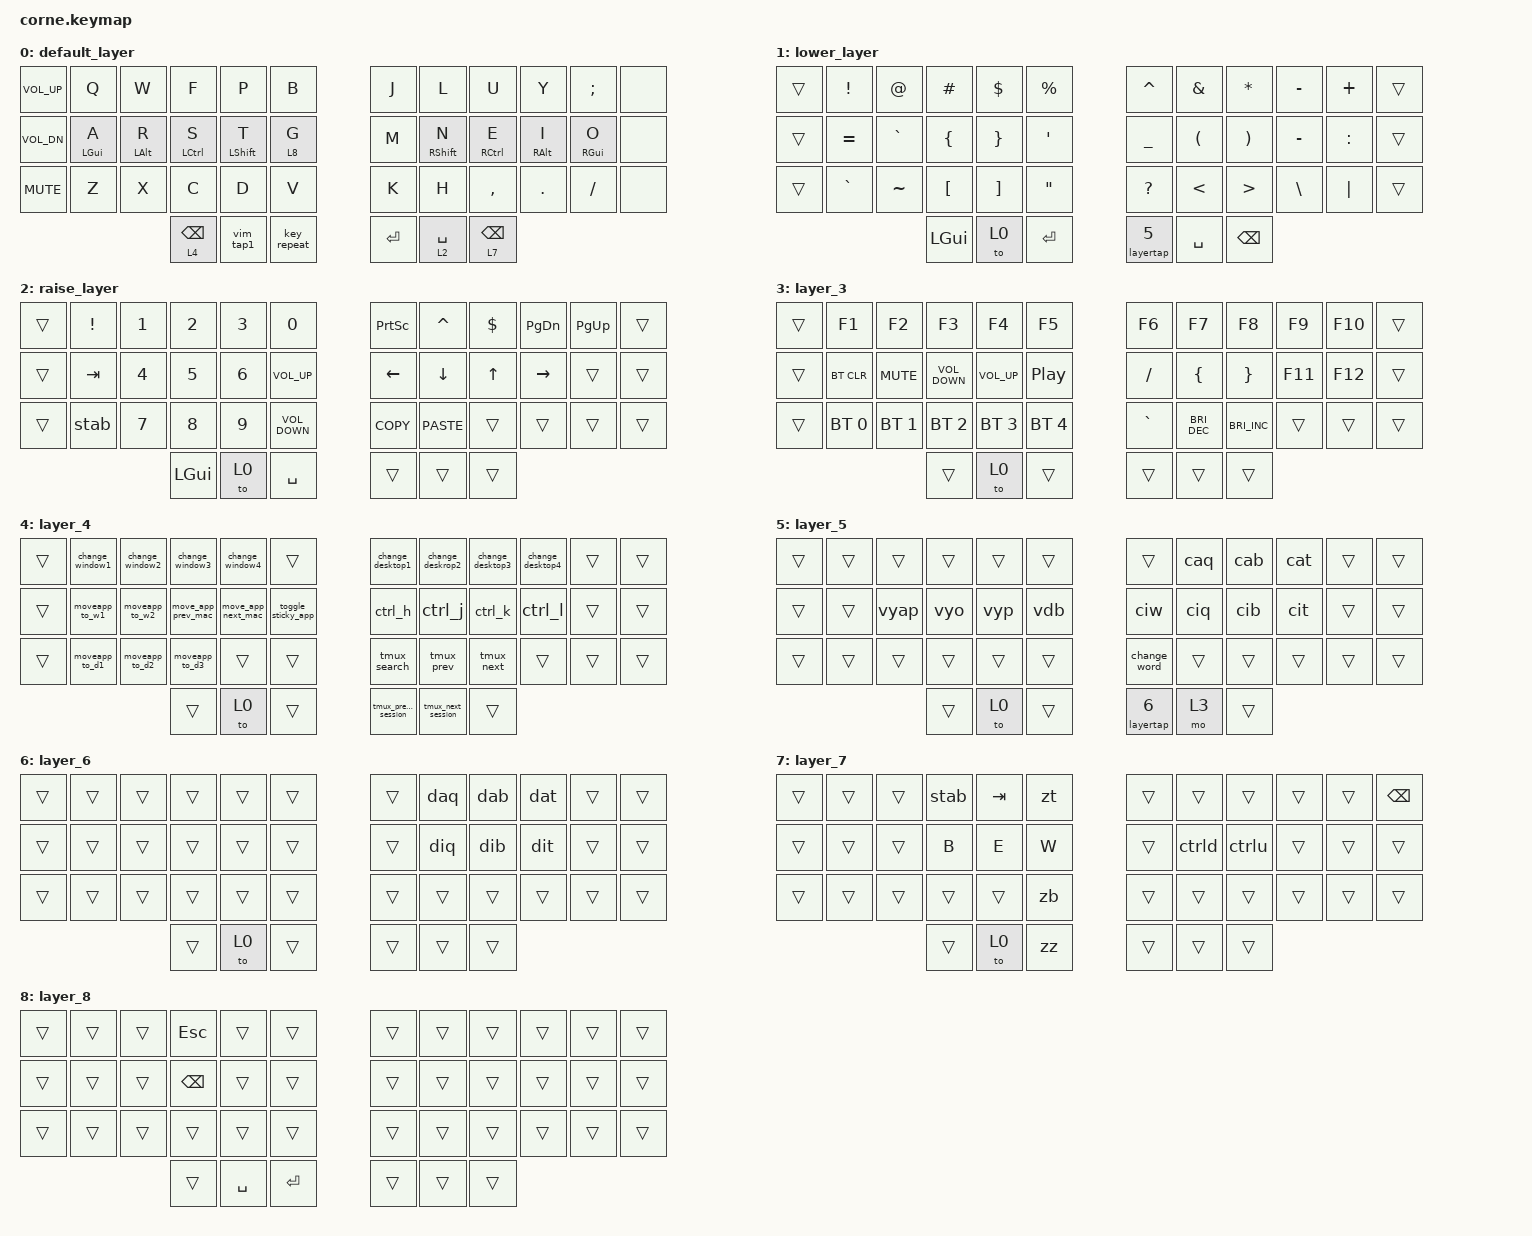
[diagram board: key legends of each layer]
/*
 * Copyright (c) 2020 The ZMK Contributors
 *
 * SPDX-License-Identifier: MIT
 */

#include <behaviors.dtsi>
#include <dt-bindings/zmk/bt.h>
#include <dt-bindings/zmk/keys.h>

/ {
    behaviors {
        shift: shift {
            compatible = "zmk,behavior-sticky-key";
            label = "SHIFT";
            bindings = <&kp>;
            #binding-cells = <1>;
            release-after-ms = <(-1)>;
            quick-release;
        };

        layertap: layertap {
            compatible = "zmk,behavior-sticky-key";
            label = "LAYERTAP";
            bindings = <&mo>;
            #binding-cells = <1>;
            release-after-ms = <(-1)>;
        };

        hmr: hmr {
            compatible = "zmk,behavior-hold-tap";
            label = "HMR";
            bindings = <&kp>, <&kp>;

            #binding-cells = <2>;
            tapping-term-ms = <200>;
            quick-tap-ms = <175>;
            flavor = "tap-preferred";
            hold-trigger-key-positions = <0 1 0 1 2 3 4 5 12 13 14 15 16 17 24 25 26 27 28 29 36 37 38 39 40 41>;
            hold-trigger-on-release;
        };

        hml: hml {
            compatible = "zmk,behavior-hold-tap";
            label = "HML";
            bindings = <&kp>, <&kp>;

            #binding-cells = <2>;
            tapping-term-ms = <200>;
            quick-tap-ms = <175>;
            flavor = "tap-preferred";
            hold-trigger-key-positions = <6 7 8 9 10 11 18 19 20 21 22 23 30 31 32 33 34 35 39 40 41 38 37 36>;
            hold-trigger-on-release;
        };

        hmr_shift: hmr_shift {
            compatible = "zmk,behavior-hold-tap";
            label = "HMR_SHIFT";
            bindings = <&kp>, <&kp>;

            #binding-cells = <2>;
            tapping-term-ms = <100>;
            hold-trigger-key-positions = <0 1 2 3 4 5 12 13 14 15 16 17 24 25 26 27 28 29 36 37 38 39 40 41>;
            hold-trigger-on-release;
            flavor = "balanced";
        };

        hml_shift: hml_shift {
            compatible = "zmk,behavior-hold-tap";
            label = "HML_SHIFT";
            bindings = <&kp>, <&kp>;

            #binding-cells = <2>;
            tapping-term-ms = <100>;
            flavor = "balanced";
            hold-trigger-on-release;
            hold-trigger-key-positions = <6 7 8 9 10 11 18 19 20 21 22 23 30 31 32 33 34 35 39 40 41 38 37 36>;
        };

        vim_tap1: vim_tap1 {
            compatible = "zmk,behavior-tap-dance";
            label = "VIM_TAP1";
            #binding-cells = <0>;
            bindings = <&layertap 1>;
        };

        vim_tap2: vim_tap2 {
            compatible = "zmk,behavior-tap-dance";
            label = "VIM_TAP2";
            #binding-cells = <0>;
            bindings = <&lt 2 SPACE>, <&layertap 7>;
        };

        right_thumb: right_thumb {
            compatible = "zmk,behavior-tap-dance";
            label = "RIGHT_THUMB";
            #binding-cells = <0>;
            bindings = <&kp LEFT_CONTROL>, <&shift LEFT_SHIFT>;
        };

        deletelayer7: deletelayer7 {
            compatible = "zmk,behavior-tap-dance";
            label = "DELETELAYER7";
            #binding-cells = <0>;
            bindings = <&lt 7 BACKSPACE>, <&kp BACKSPACE>;

            tapping-term-ms = <100>;
        };
    };

    combos {
        compatible = "zmk,combos";

        capsword {
            bindings = <&shift LEFT_SHIFT>;
            key-positions = <8 9>;
        };

        escape {
            bindings = <&kp ESCAPE>;
            key-positions = <20 21>;
        };

        semicolon {
            bindings = <&kp SEMICOLON>;
            key-positions = <8 7>;
        };

        capslock {
            bindings = <&caps_word>;
            key-positions = <2 9>;
        };

        bac {
            bindings = <&kp BACKSLASH>;
            key-positions = <31 32>;
        };

        k {
            bindings = <&kp K>;
            key-positions = <3 4>;
        };

        z {
            bindings = <&kp Z>;
            key-positions = <26 27>;
        };

        v {
            bindings = <&kp V>;
            key-positions = <27 28>;
        };

        tab {
            bindings = <&kp TAB>;
            key-positions = <14 16>;
        };
    };

    macros {
        change_window1: change_window1 {
            compatible = "zmk,behavior-macro";
            #binding-cells = <0>;
            bindings =
                <&macro_press>,
                <&kp LSHIFT &kp LEFT_ALT>,
                <&macro_tap>,
                <&kp Q>,
                <&macro_release>,
                <&kp LEFT_SHIFT &kp LEFT_ALT>;

            label = "change_window1";
        };

        change_window2: change_window2 {
            compatible = "zmk,behavior-macro";
            #binding-cells = <0>;
            bindings =
                <&macro_press>,
                <&kp LSHIFT &kp LEFT_ALT>,
                <&macro_tap>,
                <&kp W>,
                <&macro_release>,
                <&kp LEFT_SHIFT &kp LEFT_ALT>;

            label = "CHANGE_WINDOW2";
        };

        change_window3: change_window3 {
            compatible = "zmk,behavior-macro";
            #binding-cells = <0>;
            bindings =
                <&macro_press>,
                <&kp LSHIFT &kp LEFT_ALT>,
                <&macro_tap>,
                <&kp E>,
                <&macro_release>,
                <&kp LEFT_SHIFT &kp LEFT_ALT>;

            label = "CHANGE_WINDOW3";
        };

        change_window4: change_window4 {
            compatible = "zmk,behavior-macro";
            #binding-cells = <0>;
            bindings =
                <&macro_press>,
                <&kp LSHIFT &kp LEFT_ALT>,
                <&macro_tap>,
                <&kp R>,
                <&macro_release>,
                <&kp LEFT_SHIFT &kp LEFT_ALT>;

            label = "CHANGE_WINDOW4";
        };

        change_desktop1: change_desktop1 {
            compatible = "zmk,behavior-macro";
            #binding-cells = <0>;
            bindings =
                <&macro_press>,
                <&kp LSHIFT &kp LEFT_ALT>,
                <&macro_tap>,
                <&kp NUMBER_1>,
                <&macro_release>,
                <&kp LEFT_SHIFT &kp LEFT_ALT>;

            label = "CHANGE_DESKTOP1";
        };

        change_deskrop2: change_deskrop2 {
            compatible = "zmk,behavior-macro";
            #binding-cells = <0>;
            bindings =
                <&macro_press>,
                <&kp LSHIFT &kp LEFT_ALT>,
                <&macro_tap>,
                <&kp NUMBER_2>,
                <&macro_release>,
                <&kp LEFT_SHIFT &kp LEFT_ALT>;

            label = "CHANGE_DESKROP2";
        };

        moveapp_to_w1: moveapp_to_w1 {
            compatible = "zmk,behavior-macro";
            #binding-cells = <0>;
            bindings =
                <&macro_press>,
                <&kp LSHIFT &kp LEFT_ALT>,
                <&macro_tap>,
                <&kp A>,
                <&macro_release>,
                <&kp LEFT_SHIFT &kp LEFT_ALT>;

            label = "MOVEAPP_TO_W1";
        };

        moveapp_to_w2: moveapp_to_w2 {
            compatible = "zmk,behavior-macro";
            #binding-cells = <0>;
            bindings =
                <&macro_press>,
                <&kp LSHIFT &kp LEFT_ALT>,
                <&macro_tap>,
                <&kp S>,
                <&macro_release>,
                <&kp LEFT_SHIFT &kp LEFT_ALT>;

            label = "MOVEAPP_TO_W2";
        };

        moveapp_to_w3: moveapp_to_w3 {
            compatible = "zmk,behavior-macro";
            #binding-cells = <0>;
            bindings =
                <&macro_press>,
                <&kp LSHIFT &kp LEFT_ALT>,
                <&macro_tap>,
                <&kp D>,
                <&macro_release>,
                <&kp LEFT_SHIFT &kp LEFT_ALT>;

            label = "MOVEAPP_TO_W3";
        };

        moveapp_to_w4: moveapp_to_w4 {
            compatible = "zmk,behavior-macro";
            #binding-cells = <0>;
            bindings =
                <&macro_press>,
                <&kp LSHIFT &kp LEFT_ALT>,
                <&macro_tap>,
                <&kp F>,
                <&macro_release>,
                <&kp LEFT_SHIFT &kp LEFT_ALT>;

            label = "MOVEAPP_TO_W4";
        };

        moveapp_to_d1: moveapp_to_d1 {
            compatible = "zmk,behavior-macro";
            #binding-cells = <0>;
            bindings =
                <&macro_press>,
                <&kp LSHIFT &kp LEFT_ALT>,
                <&macro_tap>,
                <&kp Z>,
                <&macro_release>,
                <&kp LEFT_SHIFT &kp LEFT_ALT>;

            label = "MOVEAPP_TO_D1";
        };

        moveapp_to_d2: moveapp_to_d2 {
            compatible = "zmk,behavior-macro";
            #binding-cells = <0>;
            bindings =
                <&macro_press>,
                <&kp LSHIFT &kp LEFT_ALT>,
                <&macro_tap>,
                <&kp X>,
                <&macro_release>,
                <&kp LEFT_SHIFT &kp LEFT_ALT>;

            label = "MOVEAPP_TO_D2";
        };

        moveapp_to_d3: moveapp_to_d3 {
            compatible = "zmk,behavior-macro";
            #binding-cells = <0>;
            bindings =
                <&macro_press>,
                <&kp LSHIFT &kp LEFT_ALT>,
                <&macro_tap>,
                <&kp C>,
                <&macro_release>,
                <&kp LEFT_SHIFT &kp LEFT_ALT>;

            label = "MOVEAPP_TO_D3";
        };

        change_desktop3: change_desktop3 {
            compatible = "zmk,behavior-macro";
            #binding-cells = <0>;
            bindings =
                <&macro_press>,
                <&kp LSHIFT &kp LEFT_ALT>,
                <&macro_tap>,
                <&kp NUMBER_3>,
                <&macro_release>,
                <&kp LEFT_SHIFT &kp LEFT_ALT>;

            label = "CHANGE_DESKTOP3";
        };

        toggle_sticky_app: toggle_sticky_app {
            compatible = "zmk,behavior-macro";
            #binding-cells = <0>;
            bindings =
                <&macro_press>,
                <&kp LSHIFT &kp LEFT_ALT>,
                <&macro_tap>,
                <&kp L>,
                <&macro_release>,
                <&kp LEFT_SHIFT &kp LEFT_ALT>;

            label = "TOGGLE_STICKY_APP";
        };

        cib: cib {
            compatible = "zmk,behavior-macro";
            #binding-cells = <0>;
            bindings = <&macro_tap>, <&kp C &kp I &kp B>;

            label = "CIB";
        };

        cab: cab {
            compatible = "zmk,behavior-macro";
            #binding-cells = <0>;
            bindings = <&macro_tap>, <&kp C &kp A &kp B>;

            label = "CAB";
        };

        ciq: ciq {
            compatible = "zmk,behavior-macro";
            #binding-cells = <0>;
            bindings = <&macro_tap>, <&kp C &kp I &kp Q>;

            label = "CIQ";
        };

        caq: caq {
            compatible = "zmk,behavior-macro";
            #binding-cells = <0>;
            bindings = <&macro_tap>, <&kp C &kp A &kp Q>;

            label = "CAQ";
        };

        cat: cat {
            compatible = "zmk,behavior-macro";
            #binding-cells = <0>;
            bindings = <&macro_tap>, <&kp C &kp A &kp T>;

            label = "CAT";
        };

        cit: cit {
            compatible = "zmk,behavior-macro";
            #binding-cells = <0>;
            bindings = <&macro_tap>, <&kp C &kp I &kp T>;

            label = "CIT";
        };

        dib: dib {
            compatible = "zmk,behavior-macro";
            #binding-cells = <0>;
            bindings = <&macro_tap>, <&kp D &kp I &kp B>;

            label = "DIB";
        };

        dab: dab {
            compatible = "zmk,behavior-macro";
            #binding-cells = <0>;
            bindings = <&macro_tap>, <&kp D &kp A &kp B>;

            label = "DAB";
        };

        daq: daq {
            compatible = "zmk,behavior-macro";
            #binding-cells = <0>;
            bindings = <&macro_tap>, <&kp D &kp A &kp Q>;

            label = "DAQ";
        };

        diq: diq {
            compatible = "zmk,behavior-macro";
            #binding-cells = <0>;
            bindings = <&macro_tap>, <&kp D &kp I &kp Q>;

            label = "DIQ";
        };

        dit: dit {
            compatible = "zmk,behavior-macro";
            #binding-cells = <0>;
            bindings = <&macro_tap>, <&kp D &kp I &kp T>;

            label = "DIT";
        };

        dat: dat {
            compatible = "zmk,behavior-macro";
            #binding-cells = <0>;
            bindings = <&macro_tap>, <&kp D &kp A &kp T>;

            label = "DAT";
        };

        vyap: vyap {
            compatible = "zmk,behavior-macro";
            #binding-cells = <0>;
            bindings = <&macro_tap>, <&kp V &kp Y &kp A &kp P>;

            label = "VYAP";
        };

        vyo: vyo {
            compatible = "zmk,behavior-macro";
            #binding-cells = <0>;
            bindings = <&macro_tap>, <&kp V &kp Y &kp O>;

            label = "VYO";
        };

        vyp: vyp {
            compatible = "zmk,behavior-macro";
            #binding-cells = <0>;
            bindings = <&macro_tap>, <&kp V &kp Y &kp P>;

            label = "VYP";
        };

        vdb: vdb {
            compatible = "zmk,behavior-macro";
            #binding-cells = <0>;
            bindings = <&macro_tap>, <&kp V &kp D &kp B>;

            label = "VDB";
        };

        ctrlu: ctrlu {
            compatible = "zmk,behavior-macro";
            #binding-cells = <0>;
            bindings =
                <&macro_press>,
                <&kp LEFT_CONTROL>,
                <&macro_tap>,
                <&kp U>,
                <&macro_release>,
                <&kp LEFT_CONTROL>;

            label = "CTRLU";
        };

        stab: stab {
            compatible = "zmk,behavior-macro";
            #binding-cells = <0>;
            bindings =
                <&macro_press>,
                <&kp LEFT_SHIFT>,
                <&macro_tap>,
                <&kp TAB>,
                <&macro_release>,
                <&kp LEFT_SHIFT>;

            label = "STAB";
        };

        ctrld: ctrld {
            compatible = "zmk,behavior-macro";
            #binding-cells = <0>;
            bindings =
                <&macro_press>,
                <&kp LEFT_CONTROL>,
                <&macro_tap>,
                <&kp D>,
                <&macro_release>,
                <&kp LEFT_CONTROL>;

            label = "CTRLD";
        };

        zz: zz {
            compatible = "zmk,behavior-macro";
            #binding-cells = <0>;
            bindings = <&macro_tap>, <&kp Z &kp Z>;

            label = "ZZ";
        };

        zt: zt {
            compatible = "zmk,behavior-macro";
            #binding-cells = <0>;
            bindings = <&macro_tap>, <&kp Z &kp T>;

            label = "ZT";
        };

        zb: zb {
            compatible = "zmk,behavior-macro";
            #binding-cells = <0>;
            bindings = <&macro_tap>, <&kp Z &kp B>;

            label = "ZB";
        };

        change_desktop4: change_desktop4 {
            compatible = "zmk,behavior-macro";
            #binding-cells = <0>;
            bindings =
                <&macro_press>,
                <&kp LSHIFT &kp LEFT_ALT>,
                <&macro_tap>,
                <&kp NUMBER_4>,
                <&macro_release>,
                <&kp LEFT_SHIFT &kp LEFT_ALT>;

            label = "CHANGE_DESKTOP4";
        };

        change_word: change_word {
            compatible = "zmk,behavior-macro";
            #binding-cells = <0>;
            bindings = <&macro_tap>, <&kp C &kp W>;

            label = "CHANGE_WORD";
        };

        ciw: ciw {
            compatible = "zmk,behavior-macro";
            #binding-cells = <0>;
            bindings = <&macro_tap>, <&kp C &kp I &kp W>;

            label = "CIW";
        };

        ctrl_h: ctrl_h {
            compatible = "zmk,behavior-macro";
            #binding-cells = <0>;
            bindings =
                <&macro_press>,
                <&kp LCTRL>,
                <&macro_tap>,
                <&kp H>,
                <&macro_release>,
                <&kp LCTRL>;

            label = "CTRL_H";
        };

        ctrl_j: ctrl_j {
            compatible = "zmk,behavior-macro";
            #binding-cells = <0>;
            bindings =
                <&macro_press>,
                <&kp LCTRL>,
                <&macro_tap>,
                <&kp J>,
                <&macro_release>,
                <&kp LCTRL>;

            label = "CTRL_J";
        };

        ctrl_k: ctrl_k {
            compatible = "zmk,behavior-macro";
            #binding-cells = <0>;
            bindings =
                <&macro_press>,
                <&kp LCTRL>,
                <&macro_tap>,
                <&kp K>,
                <&macro_release>,
                <&kp LCTRL>;

            label = "CTRL_K";
        };

        ctrl_l: ctrl_l {
            compatible = "zmk,behavior-macro";
            #binding-cells = <0>;
            bindings =
                <&macro_press>,
                <&kp LCTRL>,
                <&macro_tap>,
                <&kp L>,
                <&macro_release>,
                <&kp LCTRL>;

            label = "CTRL_L";
        };

        change_window1_mac: change_window1_mac {
            compatible = "zmk,behavior-macro";
            #binding-cells = <0>;
            bindings =
                <&macro_press>,
                <&kp LEFT_CONTROL>,
                <&macro_tap>,
                <&kp NUMBER_1>,
                <&macro_release>,
                <&kp LEFT_CONTROL>;

            label = "CHANGE_WINDOW1_MAC";
        };

        change_window2_mac: change_window2_mac {
            compatible = "zmk,behavior-macro";
            #binding-cells = <0>;
            bindings =
                <&macro_press>,
                <&kp LEFT_CONTROL>,
                <&macro_tap>,
                <&kp NUMBER_2>,
                <&macro_release>,
                <&kp LEFT_CONTROL>;

            label = "CHANGE_WINDOW2_MAC";
        };

        change_window3_mac: change_window3_mac {
            compatible = "zmk,behavior-macro";
            #binding-cells = <0>;
            bindings =
                <&macro_press>,
                <&kp LEFT_CONTROL>,
                <&macro_tap>,
                <&kp NUMBER_3>,
                <&macro_release>,
                <&kp LEFT_CONTROL>;

            label = "CHANGE_WINDOW3_MAC";
        };

        change_window4_mac: change_window4_mac {
            compatible = "zmk,behavior-macro";
            #binding-cells = <0>;
            bindings =
                <&macro_press>,
                <&kp LEFT_CONTROL>,
                <&macro_tap>,
                <&kp NUMBER_4>,
                <&macro_release>,
                <&kp LEFT_CONTROL>;

            label = "CHANGE_WINDOW4_MAC";
        };

        change_window5_mac: change_window5_mac {
            compatible = "zmk,behavior-macro";
            #binding-cells = <0>;
            bindings =
                <&macro_press>,
                <&kp LEFT_CONTROL>,
                <&macro_tap>,
                <&kp NUMBER_5>,
                <&macro_release>,
                <&kp LEFT_CONTROL>;

            label = "CHANGE_WINDOW5_MAC";
        };

        move_app_next_mac: move_app_next_mac {
            compatible = "zmk,behavior-macro";
            #binding-cells = <0>;
            bindings =
                <&macro_press>,
                <&kp LEFT_CONTROL &kp LEFT_SHIFT>,
                <&macro_tap>,
                <&kp S>,
                <&macro_release>,
                <&kp LEFT_CONTROL &kp LEFT_SHIFT>;

            label = "MOVE_APP_NEXT_MAC";
        };

        move_app_prev_mac: move_app_prev_mac {
            compatible = "zmk,behavior-macro";
            #binding-cells = <0>;
            bindings =
                <&macro_press>,
                <&kp LEFT_CONTROL &kp LEFT_SHIFT>,
                <&macro_tap>,
                <&kp A>,
                <&macro_release>,
                <&kp LEFT_CONTROL &kp LEFT_SHIFT>;

            label = "MOVE_APP_PREV_MAC";
        };

        tmux_next: tmux_next {
            compatible = "zmk,behavior-macro";
            #binding-cells = <0>;
            bindings =
                <&macro_press>,
                <&kp LEFT_CONTROL>,
                <&macro_tap>,
                <&kp A>,
                <&macro_release>,
                <&kp LEFT_CONTROL>,
                <&macro_tap>,
                <&kp L>;

            label = "TMUX_NEXT";
        };

        tmux_prev: tmux_prev {
            compatible = "zmk,behavior-macro";
            #binding-cells = <0>;
            bindings =
                <&macro_press>,
                <&kp LEFT_CONTROL>,
                <&macro_tap>,
                <&kp A>,
                <&macro_release>,
                <&kp LEFT_CONTROL>,
                <&macro_tap>,
                <&kp H>;

            label = "TMUX_PREV";
        };

        tmux_search: tmux_search {
            compatible = "zmk,behavior-macro";
            #binding-cells = <0>;
            bindings =
                <&macro_press>,
                <&kp LEFT_CONTROL>,
                <&macro_tap>,
                <&kp A>,
                <&macro_release>,
                <&kp LEFT_CONTROL>,
                <&macro_tap>,
                <&kp S>;

            label = "TMUX_SEARCH";
        };

        tmux_previous_session: tmux_previous_session {
            compatible = "zmk,behavior-macro";
            #binding-cells = <0>;
            bindings =
                <&macro_press>,
                <&kp LEFT_CONTROL>,
                <&macro_tap>,
                <&kp A>,
                <&macro_release>,
                <&kp LEFT_CONTROL>,
                <&macro_tap>,
                <&kp LEFT_PARENTHESIS>;

            label = "TMUX_PREVIOUS_SESSION";
        };

        tmux_next_session: tmux_next_session {
            compatible = "zmk,behavior-macro";
            #binding-cells = <0>;
            bindings =
                <&macro_press>,
                <&kp LEFT_CONTROL>,
                <&macro_tap>,
                <&kp A>,
                <&macro_release>,
                <&kp LEFT_CONTROL>,
                <&macro_tap>,
                <&kp RIGHT_PARENTHESIS>;

            label = "TMUX_NEXT_SESSION";
        };
    };

    keymap {
        compatible = "zmk,keymap";

        default_layer {
            // -----------------------------------------------------------------------------------------
            // |  TAB |  Q  |  W  |  E  |  R  |  T  |   |  Y  |  U   |  I  |  O  |  P  | BKSP |
            // | CTRL |  A  |  S  |  D  |  F  |  G  |   |  H  |  J   |  K  |  L  |  ;  |  '   |
            // | SHFT |  Z  |  X  |  C  |  V  |  B  |   |  N  |  M   |  ,  |  .  |  /  | ESC  |
            //                    | GUI | LWR | SPC |   | ENT | RSE  | ALT |

            bindings = <
&kp C_VOLUME_UP  &kp Q        &kp W            &kp F                &kp P              &kp B          &kp J    &kp L               &kp U                 &kp Y             &kp SEMICOLON  &none
&kp C_VOL_DN     &hml LGUI A  &hml LEFT_ALT R  &hml LEFT_CONTROL S  &hml LEFT_SHIFT T  &lt 8 G        &kp M    &hmr RIGHT_SHIFT N  &hmr RIGHT_CONTROL E  &hmr RIGHT_ALT I  &hmr RGUI O    &none
&kp K_MUTE       &kp Z        &kp X            &kp C                &kp D              &kp V          &kp K    &kp H               &kp COMMA             &kp DOT           &kp FSLH       &none
                                               &lt 4 BACKSPACE      &vim_tap1          &key_repeat    &kp RET  &lt 2 SPACE         &lt 7 BACKSPACE
            >;
        };

        lower_layer {
            // -----------------------------------------------------------------------------------------
            // |  TAB |  1  |  2  |  3  |  4  |  5  |   |  6  |  7  |  8  |  9  |  0  | BKSP |
            // | BTCLR| BT1 | BT2 | BT3 | BT4 | BT5 |   | LFT | DWN |  UP | RGT |     |      |
            // | SHFT |     |     |     |     |     |   |     |     |     |     |     |      |
            //                    | GUI |     | SPC |   | ENT |     | ALT |

            bindings = <
&trans  &kp EXCL   &kp AT     &kp HASH          &kp DLLR           &kp PRCNT            &kp CARET    &kp AMPS              &kp ASTRK              &kp MINUS      &kp PLUS   &trans
&trans  &kp EQUAL  &kp GRAVE  &kp LEFT_BRACE    &kp RIGHT_BRACE    &kp SINGLE_QUOTE     &kp UNDER    &kp LEFT_PARENTHESIS  &kp RIGHT_PARENTHESIS  &kp MINUS      &kp COLON  &trans
&trans  &kp GRAVE  &kp TILDE  &kp LEFT_BRACKET  &kp RIGHT_BRACKET  &kp DOUBLE_QUOTES    &kp QMARK    &kp LESS_THAN         &kp GREATER_THAN       &kp BACKSLASH  &kp PIPE   &trans
                              &kp LGUI          &to 0              &kp RET              &layertap 5  &kp SPACE             &kp BACKSPACE
            >;
        };

        raise_layer {
            // -----------------------------------------------------------------------------------------
            // |  TAB |  !  |  @  |  #  |  $  |  %  |   |  ^  |  &  |  *  |  (  |  )  | BKSP |
            // | CTRL |     |     |     |     |     |   |  -  |  =  |  [  |  ]  |  \  |  `   |
            // | SHFT |     |     |     |     |     |   |  _  |  +  |  {  |  }  | "|" |  ~   |
            //                    | GUI |     | SPC |   | ENT |     | ALT |

            bindings = <
&trans  &kp EXCLAMATION  &kp NUMBER_1  &kp NUMBER_2  &kp NUMBER_3  &kp NUMBER_0         &kp PRINTSCREEN  &kp CARET       &kp DOLLAR    &kp PAGE_DOWN    &kp PAGE_UP  &trans
&trans  &kp TAB          &kp NUMBER_4  &kp NUMBER_5  &kp NUMBER_6  &kp C_VOLUME_UP      &kp LEFT_ARROW   &kp DOWN_ARROW  &kp UP_ARROW  &kp RIGHT_ARROW  &trans       &trans
&trans  &stab            &kp NUMBER_7  &kp NUMBER_8  &kp NUMBER_9  &kp C_VOLUME_DOWN    &kp K_COPY       &kp K_PASTE     &trans        &trans           &trans       &trans
                                       &kp LGUI      &to 0         &kp SPACE            &trans           &trans          &trans
            >;
        };

        layer_3 {
            bindings = <
&trans  &kp F1        &kp F2        &kp F3             &kp F4           &kp F5              &kp F6     &kp F7                &kp F8                &kp F9   &kp F10  &trans
&trans  &bt BT_CLR    &kp K_MUTE    &kp C_VOLUME_DOWN  &kp C_VOLUME_UP  &kp C_PLAY_PAUSE    &kp SLASH  &kp LEFT_BRACE        &kp RIGHT_BRACE       &kp F11  &kp F12  &trans
&trans  &bt BT_SEL 0  &bt BT_SEL 1  &bt BT_SEL 2       &bt BT_SEL 3     &bt BT_SEL 4        &kp GRAVE  &kp C_BRIGHTNESS_DEC  &kp C_BRIGHTNESS_INC  &trans   &trans   &trans
                                    &trans             &to 0            &trans              &trans     &trans                &trans
            >;
        };

        layer_4 {
            bindings = <
&trans  &change_window1  &change_window2  &change_window3     &change_window4     &trans                &change_desktop1        &change_deskrop2    &change_desktop3  &change_desktop4  &trans  &trans
&trans  &moveapp_to_w1   &moveapp_to_w2   &move_app_prev_mac  &move_app_next_mac  &toggle_sticky_app    &ctrl_h                 &ctrl_j             &ctrl_k           &ctrl_l           &trans  &trans
&trans  &moveapp_to_d1   &moveapp_to_d2   &moveapp_to_d3      &trans              &trans                &tmux_search            &tmux_prev          &tmux_next        &trans            &trans  &trans
                                          &trans              &to 0               &trans                &tmux_previous_session  &tmux_next_session  &trans
            >;
        };

        layer_5 {
            bindings = <
&trans  &trans  &trans  &trans  &trans  &trans    &trans        &caq    &cab    &cat    &trans  &trans
&trans  &trans  &vyap   &vyo    &vyp    &vdb      &ciw          &ciq    &cib    &cit    &trans  &trans
&trans  &trans  &trans  &trans  &trans  &trans    &change_word  &trans  &trans  &trans  &trans  &trans
                        &trans  &to 0   &trans    &layertap 6   &mo 3   &trans
            >;
        };

        layer_6 {
            bindings = <
&trans  &trans  &trans  &trans  &trans  &trans    &trans  &daq    &dab    &dat    &trans  &trans
&trans  &trans  &trans  &trans  &trans  &trans    &trans  &diq    &dib    &dit    &trans  &trans
&trans  &trans  &trans  &trans  &trans  &trans    &trans  &trans  &trans  &trans  &trans  &trans
                        &trans  &to 0   &trans    &trans  &trans  &trans
            >;
        };

        layer_7 {
            bindings = <
&trans  &trans  &trans  &stab   &kp TAB  &zt      &trans  &trans  &trans  &trans  &trans  &kp BACKSPACE
&trans  &trans  &trans  &kp B   &kp E    &kp W    &trans  &ctrld  &ctrlu  &trans  &trans  &trans
&trans  &trans  &trans  &trans  &trans   &zb      &trans  &trans  &trans  &trans  &trans  &trans
                        &trans  &to 0    &zz      &trans  &trans  &trans
            >;
        };

        layer_8 {
            bindings = <
&trans  &trans  &trans  &kp ESCAPE     &trans     &trans       &trans  &trans  &trans  &trans  &trans  &trans
&trans  &trans  &trans  &kp BACKSPACE  &trans     &trans       &trans  &trans  &trans  &trans  &trans  &trans
&trans  &trans  &trans  &trans         &trans     &trans       &trans  &trans  &trans  &trans  &trans  &trans
                        &trans         &kp SPACE  &kp ENTER    &trans  &trans  &trans
            >;
        };
    };
};
